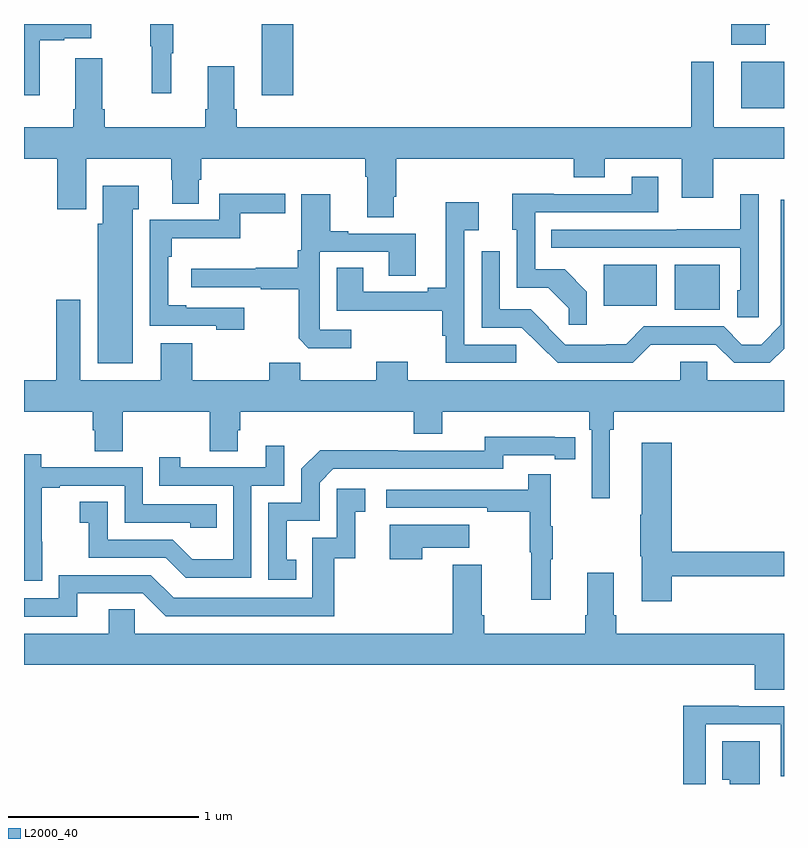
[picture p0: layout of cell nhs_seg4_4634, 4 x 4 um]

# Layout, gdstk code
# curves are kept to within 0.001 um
import gdstk
lib = gdstk.Library(unit=1e-6, precision=1e-09)
def R(c, l, rs):  # rectangles x0, y0, x1, y1
    for r in rs: c.add(gdstk.rectangle(r[:2], r[2:], *l))
def P(c, l, *ps):  # polygons
    for p in ps: c.add(gdstk.Polygon(p, *l))
L2000_40 = (2000, 40)

nhs_seg4_4634 = lib.new_cell('nhs_seg4_4634')
R(nhs_seg4_4634, L2000_40, [(364.424,757.397,364.663,757.633), (364.052,757.418,364.33,757.633), (364.775,758.456,365,758.701), (362.252,758.526,362.416,758.9)])
P(nhs_seg4_4634, L2000_40, [(361.084,758.815),(361.211,758.815),(361.211,758.825),(361.354,758.825),(361.354,758.9),(361,758.9),(361,758.526),(361.084,758.526)],
  [(361.775,758.747),(361.786,758.747),(361.786,758.9),(361.665,758.9),(361.665,758.784),(361.672,758.784),(361.672,758.535),(361.775,758.535)],
  [(364.905,758.896),(364.925,758.896),(364.925,758.9),(364.722,758.9),(364.722,758.792),(364.905,758.792)],
  [(362.947,757.99),(362.96,757.99),(362.96,758.192),(363.893,758.192),(363.893,758.093),(364.057,758.093),(364.057,758.192),(364.463,758.192),(364.463,757.986),(364.627,757.986),(364.627,758.192),(365,758.192),(365,758.356),(364.63,758.356),(364.63,758.701),(364.513,758.701),(364.513,758.356),(362.12,758.356),(362.12,758.452),(362.107,758.452),(362.107,758.677),(361.967,758.677),(361.967,758.452),(361.955,758.452),(361.955,758.356),(361.424,758.356),(361.424,758.452),(361.411,758.452),(361.411,758.719),(361.271,758.719),(361.271,758.452),(361.259,758.452),(361.259,758.356),(361,758.356),(361,758.192),(361.175,758.192),(361.175,757.926),(361.327,757.926),(361.327,758.192),(361.774,758.192),(361.774,758.079),(361.781,758.079),(361.781,757.954),(361.921,757.954),(361.921,758.079),(361.934,758.079),(361.934,758.192),(362.795,758.192),(362.795,758.096),(362.807,758.096),(362.807,757.882),(362.947,757.882)],
  [(363.963,757.492),(363.847,757.608),(363.69,757.608),(363.69,757.908),(364.339,757.908),(364.339,758.095),(364.199,758.095),(364.199,758.004),(363.787,758.004),(363.787,758.006),(363.569,758.006),(363.569,757.818),(363.594,757.818),(363.594,757.512),(363.76,757.512),(363.868,757.404),(363.868,757.317),(363.963,757.317)],
  [(361.573,757.925),(361.603,757.925),(361.603,758.05),(361.415,758.05),(361.415,757.848),(361.388,757.848),(361.388,757.115),(361.573,757.115)],
  [(362.158,757.407),(361.855,757.407),(361.855,757.42),(361.758,757.42),(361.758,757.676),(361.778,757.676),(361.778,757.772),(362.137,757.772),(362.137,757.903),(362.374,757.903),(362.374,758.006),(362.028,758.006),(362.028,757.869),(361.662,757.869),(361.662,757.311),(362.013,757.311),(362.013,757.292),(362.158,757.292)],
  [(362.722,757.29),(362.556,757.29),(362.556,757.701),(362.921,757.701),(362.921,757.576),(363.061,757.576),(363.061,757.797),(362.707,757.797),(362.707,757.81),(362.611,757.81),(362.611,758.005),(362.46,758.005),(362.46,757.708),(362.44,757.708),(362.44,757.616),(362.221,757.616),(362.221,757.612),(361.881,757.612),(361.881,757.515),(362.245,757.515),(362.245,757.503),(362.445,757.503),(362.445,757.245),(362.497,757.194),(362.722,757.194)],
  [(364.866,758.005),(364.769,758.005),(364.769,757.819),(364.435,757.819),(364.435,757.818),(363.775,757.818),(363.775,757.722),(364.77,757.722),(364.77,757.5),(364.754,757.5),(364.754,757.357),(364.866,757.357)],
  [(364.298,757.211),(364.641,757.212),(364.737,757.116),(364.924,757.116),(365,757.192),(365,757.974),(364.983,757.974),(364.983,757.317),(364.879,757.213),(364.778,757.213),(364.683,757.308),(364.263,757.308),(364.169,757.214),(364.064,757.214),(364.064,757.212),(363.849,757.212),(363.759,757.302),(363.761,757.304),(363.667,757.398),(363.504,757.398),(363.504,757.705),(363.408,757.705),(363.408,757.302),(363.621,757.302),(363.809,757.116),(364.203,757.116)],
  [(363.591,757.212),(363.318,757.212),(363.318,757.814),(363.394,757.814),(363.394,757.963),(363.221,757.963),(363.221,757.511),(363.125,757.511),(363.125,757.491),(362.785,757.491),(362.785,757.616),(362.645,757.616),(362.645,757.39),(363.202,757.39),(363.202,757.259),(363.221,757.259),(363.221,757.116),(363.591,757.116)],
  [(364.084,756.764),(364.103,756.764),(364.103,756.86),(365,756.86),(365,757.024),(364.596,757.024),(364.596,757.122),(364.454,757.122),(364.454,757.024),(363.019,757.024),(363.019,757.123),(362.855,757.123),(362.855,757.024),(362.455,757.024),(362.455,757.117),(362.291,757.117),(362.291,757.024),(361.885,757.024),(361.885,757.219),(361.721,757.219),(361.721,757.024),(361.297,757.024),(361.297,757.45),(361.169,757.45),(361.169,757.024),(361,757.024),(361,756.86),(361.361,756.86),(361.361,756.762),(361.373,756.762),(361.373,756.652),(361.521,756.652),(361.521,756.86),(361.978,756.86),(361.978,756.652),(362.125,756.652),(362.125,756.762),(362.138,756.762),(362.138,756.86),(363.05,756.86),(363.05,756.743),(363.202,756.743),(363.202,756.86),(363.974,756.86),(363.974,756.764),(363.987,756.764),(363.987,756.405),(364.084,756.405)],
  [(362.432,756.081),(362.383,756.081),(362.383,756.285),(362.556,756.285),(362.556,756.486),(362.628,756.558),(363.522,756.558),(363.522,756.63),(363.794,756.63),(363.794,756.61),(363.902,756.61),(363.902,756.726),(363.426,756.727),(363.426,756.654),(362.966,756.654),(362.966,756.656),(362.558,756.656),(362.46,756.558),(362.46,756.381),(362.286,756.381),(362.286,755.976),(362.432,755.976)],
  [(364.409,755.994),(365,755.994),(365,756.122),(364.409,756.122),(364.409,756.697),(364.25,756.697),(364.25,756.317),(364.243,756.317),(364.243,756.099),(364.25,756.099),(364.25,755.862),(364.409,755.862)],
  [(362.196,756.471),(362.37,756.471),(362.37,756.679),(362.273,756.679),(362.273,756.567),(361.822,756.567),(361.822,756.619),(361.711,756.619),(361.711,756.471),(362.1,756.471),(362.1,756.082),(361.886,756.082),(361.782,756.186),(361.44,756.186),(361.44,756.385),(361.293,756.385),(361.293,756.275),(361.342,756.275),(361.342,756.09),(361.745,756.09),(361.85,755.985),(362.196,755.985)],
  [(361.095,756.175),(361.094,756.175),(361.094,756.459),(361.189,756.459),(361.189,756.471),(361.53,756.471),(361.53,756.276),(361.875,756.276),(361.875,756.249),(362.015,756.249),(362.015,756.372),(361.626,756.372),(361.626,756.567),(361.092,756.567),(361.092,756.636),(361,756.636),(361,755.969),(361.095,755.969)],
  [(363.773,756.083),(363.784,756.083),(363.784,756.257),(363.773,756.257),(363.773,756.529),(363.655,756.529),(363.655,756.45),(362.907,756.45),(362.907,756.354),(363.439,756.354),(363.439,756.334),(363.663,756.334),(363.663,756.12),(363.67,756.12),(363.67,755.871),(363.773,755.871)],
  [(361.279,755.904),(361.626,755.904),(361.746,755.784),(362.633,755.784),(362.633,756.087),(362.744,756.087),(362.744,756.333),(362.797,756.333),(362.797,756.454),(362.646,756.454),(362.646,756.195),(362.517,756.195),(362.517,755.88),(361.788,755.88),(361.668,756),(361.182,756),(361.182,755.877),(361,755.877),(361,755.781),(361.279,755.781)],
  [(363.095,756.143),(363.343,756.143),(363.343,756.265),(362.924,756.265),(362.924,756.084),(363.095,756.084)],
  [(365,755.692),(364.118,755.692),(364.118,755.788),(364.105,755.788),(364.105,756.013),(363.965,756.013),(363.965,755.788),(363.953,755.788),(363.953,755.692),(363.422,755.692),(363.422,755.788),(363.409,755.788),(363.409,756.055),(363.257,756.055),(363.257,755.692),(361.584,755.692),(361.584,755.819),(361.445,755.819),(361.445,755.692),(361,755.692),(361,755.528),(364.847,755.528),(364.847,755.395),(365,755.395)],
  [(364.587,755.214),(364.983,755.214),(364.983,754.941),(365,754.941),(365,755.31),(364.763,755.31),(364.763,755.312),(364.471,755.312),(364.471,754.9),(364.587,754.9)],
  [(364.873,755.125),(364.676,755.125),(364.676,754.922),(364.715,754.922),(364.715,754.9),(364.873,754.9)])

lib.write_gds('nhs_seg4_4634.gds')
